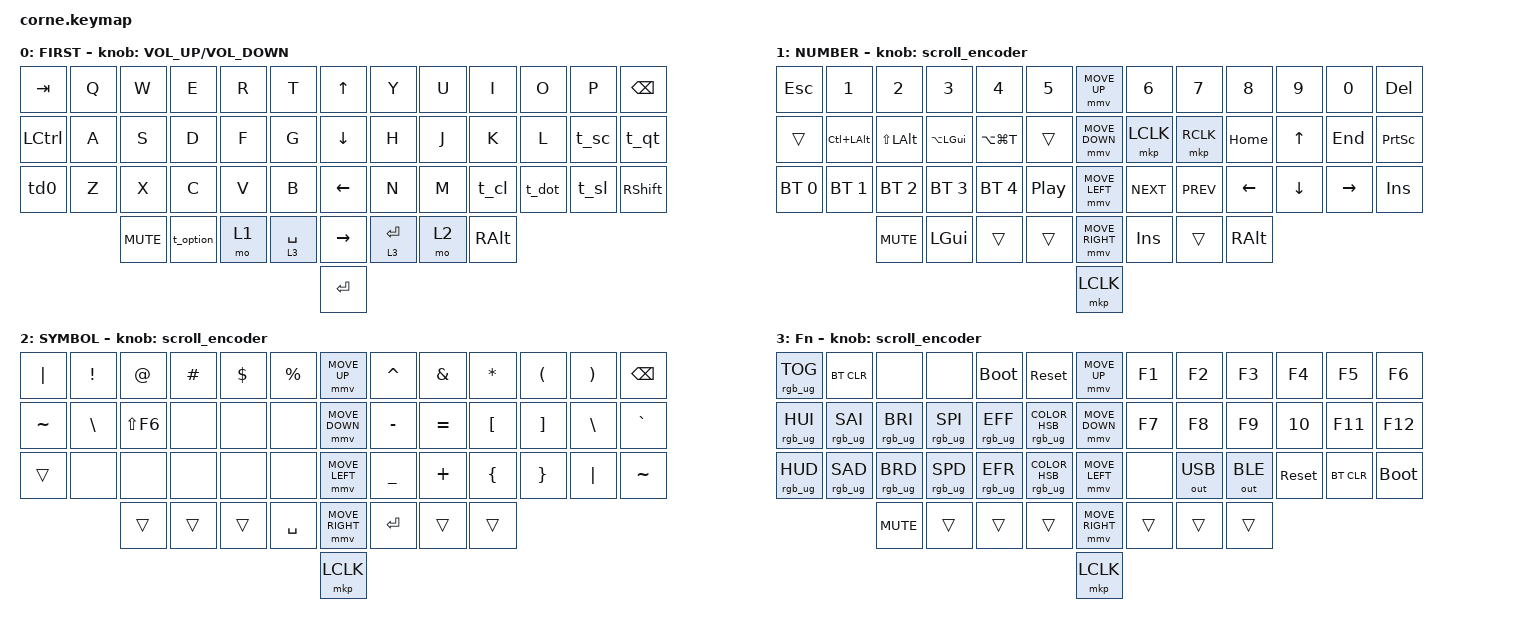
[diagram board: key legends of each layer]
#include <behaviors/mouse_keys.dtsi>
#include <behaviors.dtsi>
#include <dt-bindings/zmk/bt.h>
#include <dt-bindings/zmk/keys.h>
#include <dt-bindings/zmk/mouse.h>
#include <dt-bindings/zmk/outputs.h>
#include <dt-bindings/zmk/rgb.h>

#define ZMK_MOUSE_DEFAULT_MOVE_VAL 1200  // 600
#define ZMK_MOUSE_DEFAULT_SCRL_VAL 20    // 10
#define U_MS_U &mmv MOVE_UP
#define U_MS_D &mmv MOVE_DOWN
#define U_MS_L &mmv MOVE_LEFT
#define U_MS_R &mmv MOVE_RIGHT

/ {
    behaviors {
        td0: td0 {
            compatible = "zmk,behavior-tap-dance";
            label = "TD0";
            #binding-cells = <0>;
            bindings = <&kp LEFT_SHIFT>, <&kp CAPS>;
        };

        mmv {
            acceleration-exponent = <1>;      // 1
            time-to-max-speed-ms = <900>;    // 40
            delay-ms = <0>;                   // 0
        };

        msc {
            acceleration-exponent = <1>;      // 0
            time-to-max-speed-ms = <400>;      // 500
            delay-ms = <0>;                   // 10
        };
        t_sc: t_sc {
            compatible = "zmk,behavior-tap-dance";
            label = "t_sc";
            #binding-cells = <0>;
            tapping-term-ms = <200>;
            bindings = <&kp SEMICOLON>, <&kp COLON>;
        };

        t_qt: t_qt {
            compatible = "zmk,behavior-tap-dance";
            label = "t_qt";
            #binding-cells = <0>;
            tapping-term-ms = <200>;
            bindings = <&kp SQT>, <&kp DQT>;
        };

        t_sl: t_sl {
            compatible = "zmk,behavior-tap-dance";
            label = "t_sl";
            #binding-cells = <0>;
            tapping-term-ms = <200>;
            bindings = <&kp SLASH>, <&kp QUESTION>;
        };

        t_cl: t_cl {
            compatible = "zmk,behavior-tap-dance";
            label = "t_cl";
            #binding-cells = <0>;
            tapping-term-ms = <200>;
            bindings = <&kp COMMA>, <&kp LESS_THAN>;
        };

        t_dot: t_dot {
            compatible = "zmk,behavior-tap-dance";
            label = "t_dot";
            #binding-cells = <0>;
            tapping-term-ms = <200>;
            bindings = <&kp DOT>, <&kp GREATER_THAN>;
        };

        t_option: t_option{
            compatible = "zmk,behavior-tap-dance";
            label = "t_option"; 
            #binding-cells = <0>;
            tapping-term-ms = <200>;
            bindings = <&kp LGUI>, <&kp LALT>; 
        };
//        tap_dance_cut: tap_dance_cut {
//            compatible = "zmk,behavior-tap-dance";
//            #binding-cells = <0>;
//            tapping-term-ms = <200>;
//            bindings = <&kp LC(C)>, <&kp LG(C)>;
//        };
//         tap_dance_paste: tap_dance_paste {
//            compatible = "zmk,behavior-tap-dance";
//            #binding-cells = <0>;
//           tapping-term-ms = <200>;
//            bindings = <&kp LC(V)>, <&kp LG(V)>;
//        };
    };

    rgb_encoder: rgb_encoder {
        compatible = "zmk,behavior-sensor-rotate";
        label = "RGB_ENCODER";
        #sensor-binding-cells = <0>;
        bindings = <&rgb_ug RGB_BRI>, <&rgb_ug RGB_BRD>;
    };

    scroll_encoder: scroll_encoder {
        compatible = "zmk,behavior-sensor-rotate";
        #sensor-binding-cells = <0>;
        bindings = <&msc SCRL_DOWN>, <&msc SCRL_UP>;

        tap-ms = <30>;
    };

    keymap {
        compatible = "zmk,keymap";

        default_layer {
            display-name = "FIRST";

            // --------------------------------------------------------------------------------
            // |  TAB |  Q  |  W  |  E  |  R  |  T  |                ↑    |  Y  |  U   |  I  |  O  |  P  | BKSP |      &kp UP_ARROW 
            // | SHIFT |  A  |  S  |  D  |  F  |  G  |               ↓    |  H  |  J   |  K  |  L  |  ;  |  '   | 
            // | CTRL |  Z  |  X  |  C  |  V  |  B  |                ←    |  N  |  M   |  ,  |  .  |  /  | ESC  |
            //                    | GUI | LWR | SPC |                →    | ENT | RSE  | ALT |
            //                                                      enter

        bindings = <
&kp TAB    &kp Q  &kp W      &kp E     &kp R  &kp T           &kp UP_ARROW     &kp Y        &kp U  &kp I      &kp O    &kp P     &kp BSPC
&kp LCTRL  &kp A  &kp S      &kp D     &kp F  &kp G           &kp DOWN_ARROW   &kp H        &kp J  &kp K      &kp L    &t_sc     &t_qt
&td0       &kp Z  &kp X      &kp C     &kp V  &kp B           &kp LEFT_ARROW   &kp N        &kp M  &t_cl      &t_dot   &t_sl     &kp RSHFT
                  &kp C_MUTE  &t_option &mo 1  &lt 3 SPACE    &kp RIGHT_ARROW  &lt 3 ENTER  &mo 2  &kp RALT
                                                              &kp ENTER
            >;

            label = "FIRST";
            sensor-bindings = <&inc_dec_kp C_VOLUME_UP C_VOLUME_DOWN>;
        };

        lower_layer {
            display-name = "NUMBER";

            // -----------------------------------------------------------------------------------------
            // |  TAB |  1  |  2  |  3  |  4  |  5  |   |  6  |  7  |  8  |  9  |  0  | BKSP |
            // | BTCLR| BT1 | BT2 | BT3 | BT4 | BT5 |   | LFT | DWN |  UP | RGT |     |      |
            // | SHFT |     |     |     |     |     |   |     |     |     |     |     |      |
            //                    | GUI |     | SPC |   | ENT |     | ALT |

            bindings = <
&kp ESC       &kp N1             &kp N2           &kp N3           &kp N4          &kp N5                  &mmv MOVE_UP     &kp N6           &kp N7           &kp N8           &kp N9      &kp N0      &kp DEL
&trans        &kp LC(LALT)       &kp LS(LALT)     &kp LA(LGUI)     &kp LA(LG(T))   &trans                  &mmv MOVE_DOWN   &mkp LCLK        &mkp RCLK        &kp HOME         &kp UP      &kp END     &kp PRINTSCREEN
&bt BT_SEL 0  &bt BT_SEL 1       &bt BT_SEL 2     &bt BT_SEL 3     &bt BT_SEL 4    &kp C_PLAY_PAUSE        &mmv MOVE_LEFT   &kp C_NEXT       &kp C_PREV       &kp LEFT         &kp DOWN    &kp RIGHT   &kp INS
                                  &kp C_MUTE      &kp LGUI        &trans          &trans                   &mmv MOVE_RIGHT  &kp INS          &trans           &kp RALT
                                                                                        &mkp LCLK
            >;

            label = "NUMBER";
            sensor-bindings = <&scroll_encoder>;
        };

        raise_layer {
            display-name = "SYMBOL";

            // -----------------------------------------------------------------------------------------
            // |  TAB |  !  |  @  |  #  |  $  |  %  |   |  ^  |  &  |  *  |  (  |  )  | BKSP |
            // | CTRL |     |     |     |     |     |   |  -  |  =  |  [  |  ]  |  \  |  `   |
            // | SHFT |     |     |     |     |     |   |  _  |  +  |  {  |  }  | "|" |  ~   |
            //                    | GUI |     | SPC |   | ENT |     | ALT |

            bindings = <
&kp PIPE   &kp EXCL      &kp AT     &kp HASH   &kp DLLR   &kp PRCNT    &mmv MOVE_UP     &kp CARET  &kp AMPS   &kp ASTRK  &kp LPAR  &kp RPAR  &kp BSPC
&kp TILDE  &kp BACKSLASH &kp LS(F6)  &none      &none      &none        &mmv MOVE_DOWN   &kp MINUS  &kp EQUAL  &kp LBKT   &kp RBKT  &kp BSLH  &kp GRAVE
&trans     &none         &none      &none      &none      &none        &mmv MOVE_LEFT   &kp UNDER  &kp PLUS   &kp LBRC   &kp RBRC  &kp PIPE  &kp TILDE
                      &trans        &trans     &trans     &kp SPACE    &mmv MOVE_RIGHT  &kp RET    &trans     &trans
                                                                       &mkp LCLK
            >;

            label = "SYMBOL";
            sensor-bindings = <&scroll_encoder>;
        };

        layer_3 {
            display-name = "Fn";
            bindings = <
&rgb_ug RGB_TOG   &bt BT_CLR             &none               &none               &bootloader	   &sys_reset	                       &mmv MOVE_UP     &kp F1       &kp F2        &kp F3         &kp F4            &kp F5           &kp F6
&rgb_ug RGB_HUI   &rgb_ug RGB_SAI    &rgb_ug RGB_BRI     &rgb_ug RGB_SPI     &rgb_ug RGB_EFF   &rgb_ug RGB_COLOR_HSB(121,69,225)       &mmv MOVE_DOWN   &kp F7       &kp F8        &kp F9         &kp 10            &kp F11          &kp F12
&rgb_ug RGB_HUD   &rgb_ug RGB_SAD    &rgb_ug RGB_BRD     &rgb_ug RGB_SPD     &rgb_ug RGB_EFR   &rgb_ug RGB_COLOR_HSB(225,178,69)       &mmv MOVE_LEFT   &none        &out OUT_USB  &out OUT_BLE   &sys_reset        &bt BT_CLR       &bootloader 
                    &kp C_MUTE  &trans       &trans     &trans                                                                         &mmv MOVE_RIGHT  &trans       &trans     &trans
                                                                                                                                       &mkp LCLK
            >;

            label = "FN";
            sensor-bindings = <&scroll_encoder>;
        };
    };
};
